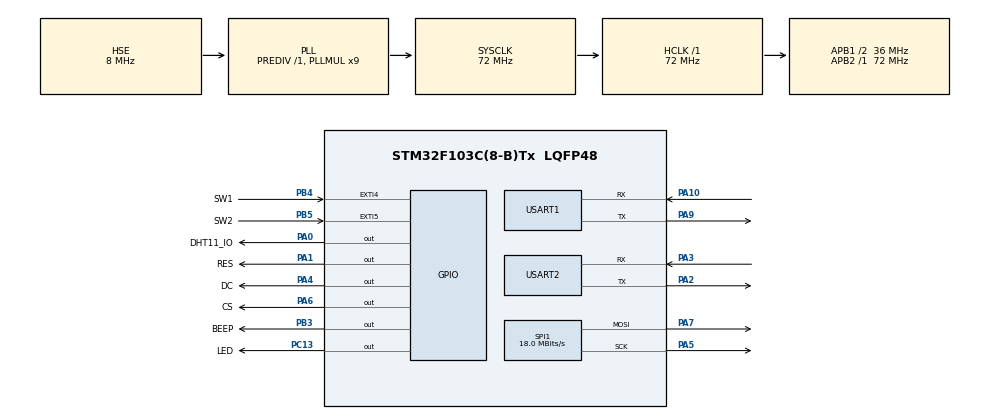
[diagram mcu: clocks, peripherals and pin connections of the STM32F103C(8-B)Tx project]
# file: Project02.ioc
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IWDG.Prescaler=IWDG_PRESCALER_256
IWDG.Reload=4095-1
Mcu.Family=STM32F1
Mcu.Name=STM32F103C(8-B)Tx
Mcu.Package=LQFP48
NVIC.EXTI4_IRQn=true\:5\:0\:true\:false\:true\:true\:true\:true
NVIC.EXTI9_5_IRQn=true\:5\:0\:true\:false\:true\:true\:true\:true
NVIC.PriorityGroup=NVIC_PRIORITYGROUP_4
NVIC.USART1_IRQn=true\:3\:0\:true\:false\:true\:true\:true\:true
NVIC.USART2_IRQn=true\:3\:0\:true\:false\:true\:true\:true\:true
PA0-WKUP.GPIO_Label=DHT11_IO
PA0-WKUP.GPIO_PuPd=GPIO_PULLDOWN
PA0-WKUP.GPIO_Speed=GPIO_SPEED_FREQ_HIGH
PA0-WKUP.Signal=GPIO_Output
PA1.GPIO_Label=RES
PA1.Signal=GPIO_Output
PA10.Mode=Asynchronous
PA10.Signal=USART1_RX
PA13.Mode=Serial_Wire
PA13.Signal=SYS_JTMS-SWDIO
PA14.Mode=Serial_Wire
PA14.Signal=SYS_JTCK-SWCLK
PA2.Mode=Asynchronous
PA2.Signal=USART2_TX
PA3.Mode=Asynchronous
PA3.Signal=USART2_RX
PA4.GPIO_Label=DC
PA4.Signal=GPIO_Output
PA5.Mode=TX_Only_Simplex_Unidirect_Master
PA5.Signal=SPI1_SCK
PA6.GPIO_Label=CS
PA6.Signal=GPIO_Output
PA7.Mode=TX_Only_Simplex_Unidirect_Master
PA7.Signal=SPI1_MOSI
PA9.Mode=Asynchronous
PA9.Signal=USART1_TX
PB3.GPIO_Label=BEEP
PB3.PinState=GPIO_PIN_SET
PB3.Signal=GPIO_Output
PB4.GPIO_Label=SW1
PB4.GPIO_PuPd=GPIO_PULLUP
PB4.Signal=GPXTI4
PB5.GPIO_Label=SW2
PB5.GPIO_PuPd=GPIO_PULLUP
PB5.Signal=GPXTI5
PC13-TAMPER-RTC.GPIO_Label=LED
PC13-TAMPER-RTC.PinState=GPIO_PIN_SET
PC13-TAMPER-RTC.Signal=GPIO_Output
PD0-OSC_IN.Mode=HSE-External-Oscillator
PD0-OSC_IN.Signal=RCC_OSC_IN
PD1-OSC_OUT.Mode=HSE-External-Oscillator
PD1-OSC_OUT.Signal=RCC_OSC_OUT
ProjectManager.HeapSize=0x200
ProjectManager.StackSize=0x400
ProjectManager.TargetToolchain=MDK-ARM V5.32
RCC.AHBFreq_Value=72000000
RCC.APB1CLKDivider=RCC_HCLK_DIV2
RCC.APB1Freq_Value=36000000
RCC.APB1TimFreq_Value=72000000
RCC.APB2Freq_Value=72000000
RCC.APB2TimFreq_Value=72000000
RCC.HCLKFreq_Value=72000000
RCC.PLLMUL=RCC_PLL_MUL9
RCC.PLLSourceVirtual=RCC_PLLSOURCE_HSE
RCC.SYSCLKFreq_VALUE=72000000
RCC.SYSCLKSource=RCC_SYSCLKSOURCE_PLLCLK
RCC.USBFreq_Value=72000000
SPI1.BaudRatePrescaler=SPI_BAUDRATEPRESCALER_4
SPI1.CalculateBaudRate=18.0 MBits/s
SPI1.Direction=SPI_DIRECTION_2LINES
SPI1.Mode=SPI_MODE_MASTER
SPI1.VirtualType=VM_MASTER
TIM1.Prescaler=7.2-1
USART1.VirtualMode=VM_ASYNC
USART2.VirtualMode=VM_ASYNC
VP_IWDG_VS_IWDG.Mode=IWDG_Activate
VP_TIM1_VS_ClockSourceINT.Mode=Internal
board=custom

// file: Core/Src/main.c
/* USER CODE BEGIN Header */
/**
  ******************************************************************************
  * @file           : main.c
  * @brief          : Main program body
  ******************************************************************************
  * @attention
  *
  * Copyright (c) 2022 STMicroelectronics.
  * All rights reserved.
  *
  * This software is licensed under terms that can be found in the LICENSE file
  * in the root directory of this software component.
  * If no LICENSE file comes with this software, it is provided AS-IS.
  *
  ******************************************************************************
  */
/* USER CODE END Header */
#include "main.h"
#include "iwdg.h"
#include "spi.h"
#include "tim.h"
#include "usart.h"
#include "gpio.h"

/* USER CODE BEGIN Includes */
#include "hal_temp_hum.h"
#include "esp8266_at.h"
#include "esp8266_mqtt.h"
#include "Link_xxCould.h"
#include "oled.h"
/* USER CODE END Includes */

void SystemClock_Config(void);

/* USER CODE BEGIN 0 */
void initView(void);
void MainView(void);

/* USER CODE END 0 */

int main(void)
{

  /* MCU Configuration--------------------------------------------------------*/

  /* Reset of all peripherals, Initializes the Flash interface and the Systick. */
  HAL_Init();

  /* Configure the system clock */
  SystemClock_Config();

  /* Initialize all configured peripherals */
  MX_GPIO_Init();
  MX_SPI1_Init();
  MX_USART1_UART_Init();
  MX_USART2_UART_Init();
  MX_TIM1_Init();
  MX_IWDG_Init();
  /* USER CODE BEGIN 2 */
	OLED_Init();
	initView();
	//MainView();

	HAL_UART_Receive_IT(&huart1,usart1_rxone,1);			//打开USART1中断，接收订阅消息
	ES8266_MQTT_Init();
	MainView();
  /* USER CODE END 2 */

  /* Infinite loop */
  /* USER CODE BEGIN WHILE */

	uint16_t Counter_RUNLED_Blink = 0;
	uint16_t Counter_RUNInfo_Send = 0;
	uint16_t Counter_MQTT_Heart = 0;
	uint16_t Counter_StatusReport = 0;

  while (1)
  {
    /* USER CODE END WHILE */

    /* USER CODE BEGIN 3 */
  //		//运行灯闪烁
//		if(Counter_RUNLED_Blink++>COUNTER_LEDBLINK)
//		{
//			Counter_RUNLED_Blink = 0;
//			HAL_GPIO_TogglePin(LED_G_GPIO_Port,LED_G_Pin);
//		}

		//运行状态打印
		if(Counter_RUNInfo_Send++>COUNTER_RUNINFOSEND)
		{
			Counter_RUNInfo_Send = 0;
			user_main_info("程序正在运行！\r\n");
		}

		//心跳包发送
		if(Counter_MQTT_Heart++>COUNTER_MQTTHEART)
		{
			Counter_MQTT_Heart = 0;
			MQTT_SentHeart();
		}

		//心跳包确认
	//在xxxCould里喂狗 26.208s不喂狗复位

		//本机状态上报
		if(Counter_StatusReport++>COUNTER_STATUSREPORT)
		{
			Counter_StatusReport = 0;
			STM32_StatusReport();
		}

		//如果接收缓存有数据
		if(usart1_rxcounter)
		{
			deal_MQTT_message(usart1_rxbuf,usart1_rxcounter);
		}

		HAL_Delay(LOOPTIME);

  }
  /* USER CODE END 3 */
}

void SystemClock_Config(void)
{
  RCC_OscInitTypeDef RCC_OscInitStruct = {0};
  RCC_ClkInitTypeDef RCC_ClkInitStruct = {0};

  /** Initializes the RCC Oscillators according to the specified parameters
  * in the RCC_OscInitTypeDef structure.
  */
  RCC_OscInitStruct.OscillatorType = RCC_OSCILLATORTYPE_LSI|RCC_OSCILLATORTYPE_HSE;
  RCC_OscInitStruct.HSEState = RCC_HSE_ON;
  RCC_OscInitStruct.HSEPredivValue = RCC_HSE_PREDIV_DIV1;
  RCC_OscInitStruct.HSIState = RCC_HSI_ON;
  RCC_OscInitStruct.LSIState = RCC_LSI_ON;
  RCC_OscInitStruct.PLL.PLLState = RCC_PLL_ON;
  RCC_OscInitStruct.PLL.PLLSource = RCC_PLLSOURCE_HSE;
  RCC_OscInitStruct.PLL.PLLMUL = RCC_PLL_MUL9;
  if (HAL_RCC_OscConfig(&RCC_OscInitStruct) != HAL_OK)
  {
    Error_Handler();
  }

  /** Initializes the CPU, AHB and APB buses clocks
  */
  RCC_ClkInitStruct.ClockType = RCC_CLOCKTYPE_HCLK|RCC_CLOCKTYPE_SYSCLK
                              |RCC_CLOCKTYPE_PCLK1|RCC_CLOCKTYPE_PCLK2;
  RCC_ClkInitStruct.SYSCLKSource = RCC_SYSCLKSOURCE_PLLCLK;
  RCC_ClkInitStruct.AHBCLKDivider = RCC_SYSCLK_DIV1;
  RCC_ClkInitStruct.APB1CLKDivider = RCC_HCLK_DIV2;
  RCC_ClkInitStruct.APB2CLKDivider = RCC_HCLK_DIV1;

  if (HAL_RCC_ClockConfig(&RCC_ClkInitStruct, FLASH_LATENCY_2) != HAL_OK)
  {
    Error_Handler();
  }
}

/* USER CODE BEGIN 4 */

void initView(void){

	OLED_ShowChinese(0,0,0,16);OLED_ShowChinese(16*1,0,1,16);OLED_ShowChinese(16*2,0,2,16);
	OLED_ShowChinese(16*3,0,3,16);OLED_ShowChinese(16*4,0,4,16);OLED_ShowChinese(16*5,0,5,16);

	OLED_ShowChinese(0,16,0,16);OLED_ShowChinese(16*1,16,1,16);OLED_ShowChinese(16*2,16,6,16);
	OLED_ShowChinese(16*3,16,7,16);OLED_ShowChinese(16*3,16,8,16);OLED_ShowChinese(16*4,16,4,16);OLED_ShowChinese(16*5,16,5,16);

	OLED_ShowChinese(0,32,0,16);OLED_ShowChinese(16*1,32,1,16);
	OLED_ShowChinese(64,32,4,16);OLED_ShowChinese(80,32,5,16);
	OLED_ShowString(32,32,"MQTT",16);

	OLED_ShowChinese(0,48,9,16);OLED_ShowChinese(16*1,48,10,16);
	OLED_ShowChinese(16*2,48,4,16);OLED_ShowChinese(16*3,48,5,16);

	OLED_Refresh();
}

void MainView(){

	OLED_ShowChinese(0,0,11,16);OLED_ShowChinese(16*1,0,12,16);OLED_ShowChinese(16*2,0,13,16);
	OLED_ShowChinese(16*3,0,14,16);OLED_ShowChinese(16*4,0,15,16);OLED_ShowChinese(16*5,0,16,16);
	OLED_ShowChinese(16*7,0,26,16);

	OLED_ShowChinese(0,16*1,17,16);OLED_ShowChinese(16*1,16*1,18,16);OLED_ShowString(16*2,16*1,":",16);

	OLED_ShowChinese(0,16*2,19,16);OLED_ShowChinese(16*1,16*2,20,16);OLED_ShowString(16*2,16*2,":",16);

	OLED_ShowChinese(0,16*3,21,16);OLED_ShowChinese(16*1,16*3,22,16);OLED_ShowChinese(16*2,16*3,23,16);OLED_ShowString(16*3,16*3,":",16);
	OLED_ShowChinese(16*4 - 8,16*3,25,16);

	OLED_Refresh();
}

/******************************  USART1接收中断代码  *****************************/

// ES8266驱动串口接收中断处理函数
void HAL_UART_RxCpltCallback(UART_HandleTypeDef *huart)
{
	if(huart->Instance == USART1)	// 判断是由哪个串口触发的中断
	{
		//将接收到的数据放入接收usart1接收数组
		usart1_rxbuf[usart1_rxcounter] = usart1_rxone[0];
		usart1_rxcounter++;	//接收数量＋1

		//重新使能串口1接收中断
		HAL_UART_Receive_IT(&huart1,usart1_rxone,1);
	}
}

/******************************  按键中断代码  *****************************/

//KEY1按下动作执行函数
void KEY1_Pressed(void)
{
	user_main_debug("我按下了KEY_1\r\n");
	Change_LED_Status();
}

//KEY2按下动作执行函数
void KEY2_Pressed(void)
{
	user_main_debug("我按下了KEY_2\r\n");
}

//按键中断处理函数
void HAL_GPIO_EXTI_Callback(uint16_t GPIO_Pin)
{
    switch(GPIO_Pin)
    {
        case SW1_Pin:KEY1_Pressed();break;
        case SW2_Pin:KEY2_Pressed();break;
        default:break;
    }
}

/* USER CODE END 4 */

void Error_Handler(void)
{
  __disable_irq();
  while (1)
  {
  }
}
